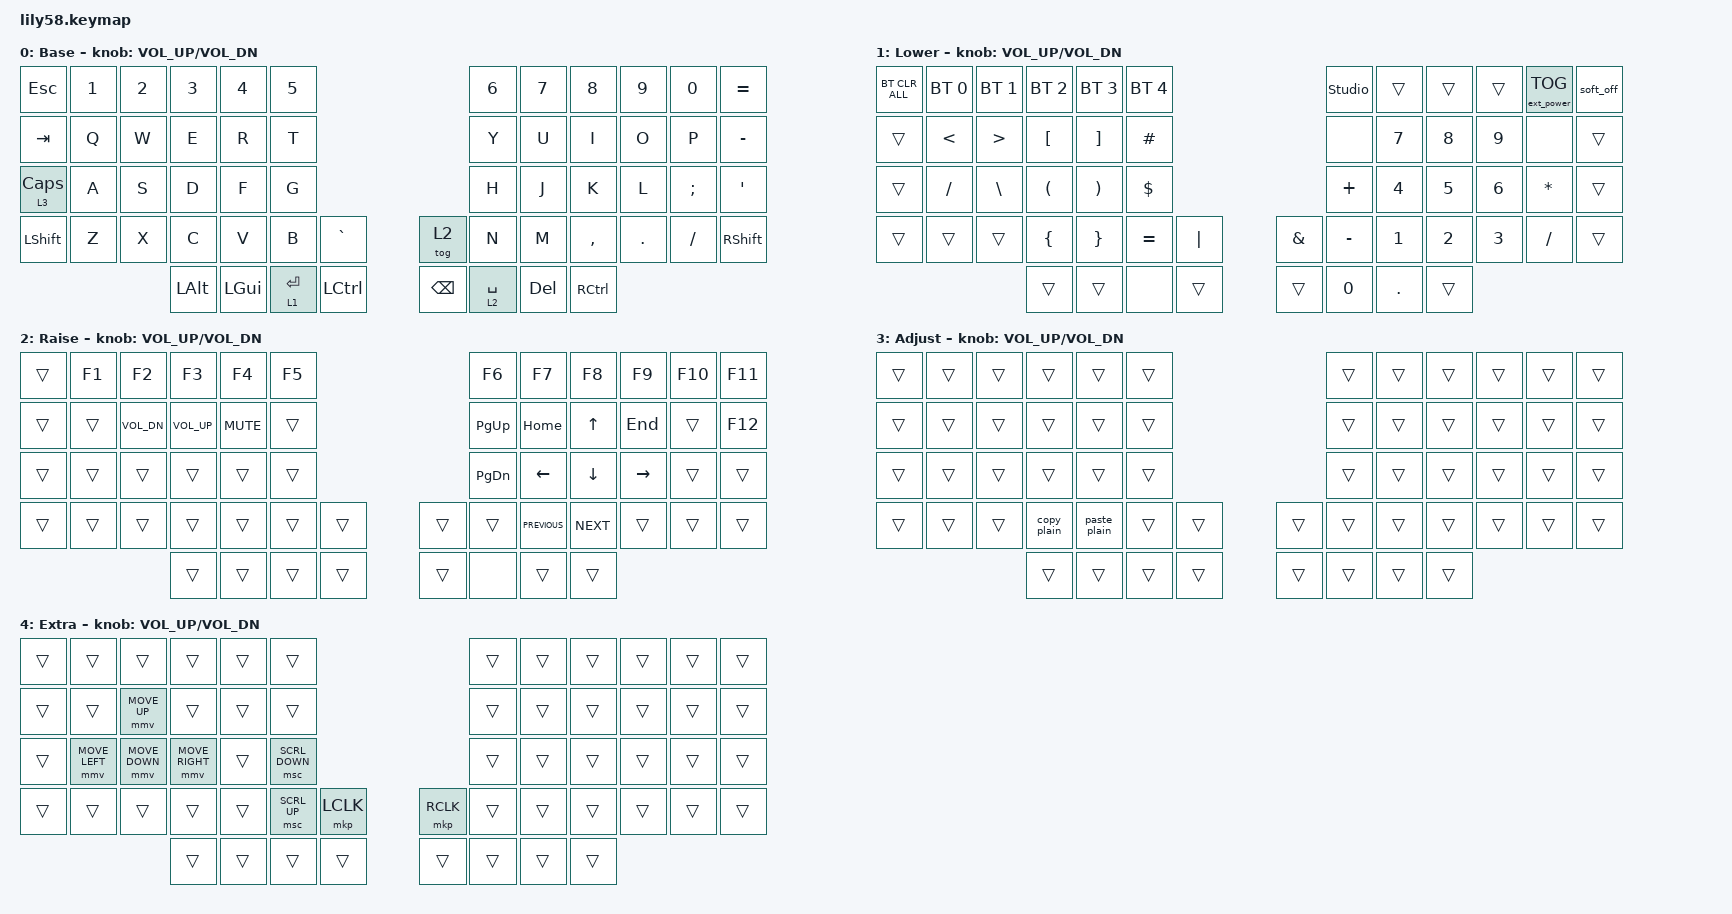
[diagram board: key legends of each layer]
/*
 * Copyright (c) 2020 The ZMK Contributors
 *
 * SPDX-License-Identifier: MIT
 */

#include <behaviors.dtsi>
#include <dt-bindings/zmk/bt.h>
#include <dt-bindings/zmk/ext_power.h>
#include <dt-bindings/zmk/keys.h>
#include <dt-bindings/zmk/pointing.h>

#define default_layer 0
#define lower_layer 1
#define raise_layer 2
#define adjust_layer 3
#define extra_layer 4

&soft_off { hold-time-ms = <1000>; };

/ {
    macros {
        paste_plain: paste_plain_text {
            compatible = "zmk,behavior-macro";
            #binding-cells = <0>;
            bindings = <&kp LS(LC(V))>;
            label = "PASTE_PLAIN_TEXT";
        };

        copy_plain: copy_plain {
            compatible = "zmk,behavior-macro";
            #binding-cells = <0>;
            bindings = <&kp LS(LC(C))>;
            label = "COPY_PLAIN";
        };
    };

    keymap {
        compatible = "zmk,keymap";

        default_layer {
            display-name = "Base";

            // ------------------------------------------------------------------------------------------------------------
            // |  ESC  |  1  |  2  |  3   |  4   |  5   |                   |  6   |  7    |  8    |  9   |   0   |   `   |
            // |  TAB  |  Q  |  W  |  E   |  R   |  T   |                   |  Y   |  U    |  I    |  O   |   P   |   -   |
            // |  CTRL |  A  |  S  |  D   |  F   |  G   |                   |  H   |  J    |  K    |  L   |   ;   |   '   |
            // | SHIFT |  Z  |  X  |  C   |  V   |  B   |   "["  |  |  "]"  |  N   |  M    |  ,    |  .   |   /   | SHIFT |
            //                     | ALT  | GUI  | LOWER|  SPACE |  | ENTER | RAISE| BSPC  | GUI   |

            bindings = <
&kp ESC         &kp N1  &kp N2  &kp N3    &kp N4    &kp N5                                          &kp N6       &kp N7   &kp N8     &kp N9   &kp N0    &kp EQUAL
&kp TAB         &kp Q   &kp W   &kp E     &kp R     &kp T                                           &kp Y        &kp U    &kp I      &kp O    &kp P     &kp MINUS
&lt 3 CAPSLOCK  &kp A   &kp S   &kp D     &kp F     &kp G                                           &kp H        &kp J    &kp K      &kp L    &kp SEMI  &kp SQT
&kp LEFT_SHIFT  &kp Z   &kp X   &kp C     &kp V     &kp B        &kp GRAVE           &tog 2         &kp N        &kp M    &kp COMMA  &kp DOT  &kp FSLH  &kp RSHFT
                                &kp LALT  &kp LGUI  &lt 1 ENTER  &kp LEFT_CONTROL    &kp BACKSPACE  &lt 2 SPACE  &kp DEL  &kp RCTRL
            >;

            sensor-bindings = <&inc_dec_kp C_VOL_UP C_VOL_DN>;
        };

        lower_layer {
            display-name = "Lower";

            // ------------------------------------------------------------------------------------------------------------
            // | BTCLR | BT1 | BT2 |  BT3 |  BT4 |  BT5 |                   |      |       |       |      |       |       |
            // |  F1   |  F2 |  F3 |  F4  |  F5  |  F6  |                   |  F7  |  F8   |  F9   |  F10 |  F11  |  F12  |
            // |   `   |  !  |  @  |  #   |  $   |  %   |                   |  ^   |  &    |  *    |  (   |   )   |   ~   |
            // |       |     |     |      |      |      |        |  |       |      |  _    |  +    |  {   |   }   |  "|"  |
            //                     |      |      |      |        |  |       |      |       |       |

            bindings = <
&bt BT_CLR_ALL  &bt BT_SEL 0   &bt BT_SEL 1      &bt BT_SEL 2          &bt BT_SEL 3           &bt BT_SEL 4                             &studio_unlock  &trans   &trans  &trans  &ext_power EP_TOG  &soft_off
&trans          &kp LESS_THAN  &kp GREATER_THAN  &kp LEFT_BRACKET      &kp RIGHT_BRACKET      &kp HASH                                 &none           &kp N7   &kp N8  &kp N9  &none              &trans
&trans          &kp SLASH      &kp BACKSLASH     &kp LEFT_PARENTHESIS  &kp RIGHT_PARENTHESIS  &kp DOLLAR                               &kp PLUS        &kp N4   &kp N5  &kp N6  &kp STAR           &trans
&trans          &trans         &trans            &kp LEFT_BRACE        &kp RIGHT_BRACE        &kp EQUAL     &kp PIPE    &kp AMPERSAND  &kp MINUS       &kp N1   &kp N2  &kp N3  &kp SLASH          &trans
                                                 &trans                &trans                 &none         &trans      &trans         &kp N0          &kp DOT  &trans
            >;

            sensor-bindings = <&inc_dec_kp C_VOL_UP C_VOL_DN>;
        };

        raise_layer {
            display-name = "Raise";

            // ------------------------------------------------------------------------------------------------------------
            // |       |     |     |      |      |      |                   |      |       |       |      |       |       |
            // |   `   |  1  |  2  |  3   |  4   |  5   |                   |  6   |   7   |   8   |  9   |   0   |       |
            // |   F1  |  F2 |  F3 |  F4  |  F5  |  F6  |                   |      |   <-  |   v   |  ^   |  ->   |       |
            // |   F7  |  F8 |  F9 |  F10 |  F11 |  F12 |        |  |       |  +   |   -   |   =   |  [   |   ]   |   \   |
            //                     |      |      |      |        |  |       |      |       |       |

            bindings = <
&trans  &kp F1  &kp F2        &kp F3           &kp F4      &kp F5                    &kp F6       &kp F7          &kp F8      &kp F9     &kp F10  &kp F11
&trans  &trans  &kp C_VOL_DN  &kp C_VOLUME_UP  &kp K_MUTE  &trans                    &kp PAGE_UP  &kp HOME        &kp UP      &kp END    &trans   &kp F12
&trans  &trans  &trans        &trans           &trans      &trans                    &kp PG_DN    &kp LEFT        &kp DOWN    &kp RIGHT  &trans   &trans
&trans  &trans  &trans        &trans           &trans      &trans  &trans    &trans  &trans       &kp C_PREVIOUS  &kp C_NEXT  &trans     &trans   &trans
                              &trans           &trans      &trans  &trans    &trans  &none        &trans          &trans
            >;

            sensor-bindings = <&inc_dec_kp C_VOL_UP C_VOL_DN>;
        };

        adjust_layer {
            display-name = "Adjust";

            // ------------------------------------------------------------------------------------------------------------
            // |       |     |     |      |      |      |                   |      |       |       |      |       |       |
            // |   `   |  1  |  2  |  3   |  4   |  5   |                   |  6   |   7   |   8   |  9   |   0   |       |
            // |   F1  |  F2 |  F3 |  F4  |  F5  |  F6  |                   |      |   <-  |   v   |  ^   |  ->   |       |
            // |   F7  |  F8 |  F9 |  F10 |  F11 |  F12 |        |  |       |  +   |   -   |   =   |  [   |   ]   |   \   |
            //                     |      |      |      |        |  |       |      |       |       |

            bindings = <
&trans  &trans  &trans  &trans       &trans        &trans                    &trans  &trans  &trans  &trans  &trans  &trans
&trans  &trans  &trans  &trans       &trans        &trans                    &trans  &trans  &trans  &trans  &trans  &trans
&trans  &trans  &trans  &trans       &trans        &trans                    &trans  &trans  &trans  &trans  &trans  &trans
&trans  &trans  &trans  &copy_plain  &paste_plain  &trans  &trans    &trans  &trans  &trans  &trans  &trans  &trans  &trans
                        &trans       &trans        &trans  &trans    &trans  &trans  &trans  &trans
            >;

            sensor-bindings = <&inc_dec_kp C_VOL_UP C_VOL_DN>;
        };

        extra_layer {
            display-name = "Extra";

            // ------------------------------------------------------------------------------------------------------------
            // |       |     |     |      |      |      |                   |      |       |       |      |       |       |
            // |   `   |  1  |  2  |  3   |  4   |  5   |                   |  6   |   7   |   8   |  9   |   0   |       |
            // |   F1  |  F2 |  F3 |  F4  |  F5  |  F6  |                   |      |   <-  |   v   |  ^   |  ->   |       |
            // |   F7  |  F8 |  F9 |  F10 |  F11 |  F12 |        |  |       |  +   |   -   |   =   |  [   |   ]   |   \   |
            //                     |      |      |      |        |  |       |      |       |       |

            bindings = <
&trans  &trans          &trans          &trans           &trans  &trans                                  &trans  &trans  &trans  &trans  &trans  &trans
&trans  &trans          &mmv MOVE_UP    &trans           &trans  &trans                                  &trans  &trans  &trans  &trans  &trans  &trans
&trans  &mmv MOVE_LEFT  &mmv MOVE_DOWN  &mmv MOVE_RIGHT  &trans  &msc SCRL_DOWN                          &trans  &trans  &trans  &trans  &trans  &trans
&trans  &trans          &trans          &trans           &trans  &msc SCRL_UP    &mkp LCLK    &mkp RCLK  &trans  &trans  &trans  &trans  &trans  &trans
                                        &trans           &trans  &trans          &trans       &trans     &trans  &trans  &trans
            >;

            sensor-bindings = <&inc_dec_kp C_VOL_UP C_VOL_DN>;
        };
    };
};
